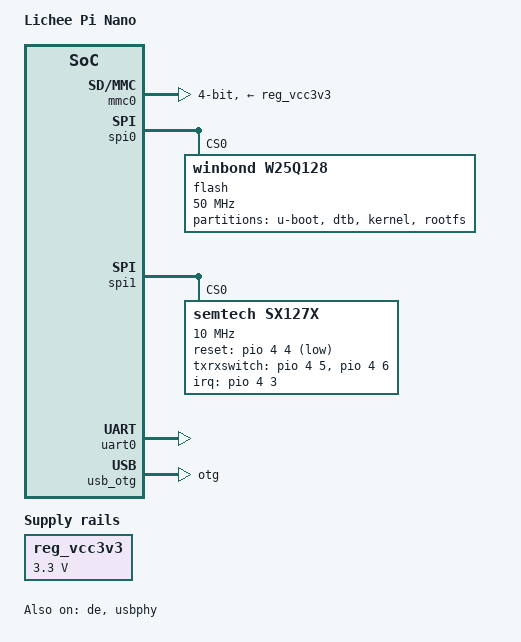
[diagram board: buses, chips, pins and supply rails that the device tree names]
// SPDX-License-Identifier: (GPL-2.0+ OR X11)
/*
 * Copyright 2018 Icenowy Zheng <icenowy@aosc.io>
 */

/dts-v1/;
#include "suniv-f1c100s.dtsi"

#include <dt-bindings/gpio/gpio.h>
#include <dt-bindings/interrupt-controller/irq.h>

/ {
	model = "Lichee Pi Nano";
	compatible = "licheepi,licheepi-nano", "allwinner,suniv-f1c100s",
		     "allwinner,suniv";

	aliases {
		serial0 = &uart0;
		spi0 = &spi0;
	};

	chosen {
		stdout-path = "serial0:115200n8";
	};

	/*
	panel: panel {
		compatible = "qiaodian,qd43003c0-40", "simple-panel";
		#address-cells = <1>;
		#size-cells = <0>;
		enable-gpios = <&pio 4 6 GPIO_ACTIVE_HIGH>;

		port@0 {
			reg = <0>;
			#address-cells = <1>;
			#size-cells = <0>;

			panel_input: endpoint@0 {
				reg = <0>;
				remote-endpoint = <&tcon0_out_lcd>;
			};
		};
	};
	*/

	reg_vcc3v3: vcc3v3 {
		compatible = "regulator-fixed";
		regulator-name = "vcc3v3";
		regulator-min-microvolt = <3300000>;
		regulator-max-microvolt = <3300000>;
	};
};

&de {
	status = "okay";
};

&mmc0 {
	vmmc-supply = <&reg_vcc3v3>;
	bus-width = <4>;
	broken-cd;
	status = "okay";
};

&otg_sram {
	status = "okay";
};

&spi0 {
	pinctrl-names = "default";
	pinctrl-0 = <&spi0_pins>;
	status = "okay";
	spi-max-frequency = <50000000>;

	flash: w25q128@0 {
		#address-cells = <1>;
		#size-cells = <1>;
		compatible = "winbond,w25q128", "jedec,spi-nor";
		reg = <0>;
		spi-max-frequency = <50000000>;
		partitions {
			compatible = "fixed-partitions";
			#address-cells = <1>;
			#size-cells = <1>;

			partition@0 {
				label = "u-boot";
				reg = <0x000000 0x100000>;
				read-only;
			};

			partition@100000 {
				label = "dtb";
				reg = <0x100000 0x10000>;
				read-only;
			};

			partition@110000 {
				label = "kernel";
				reg = <0x110000 0x400000>;
				read-only;
			};

			partition@510000 {
				label = "rootfs";
				reg = <0x510000 0xAF0000>;
			};
		};
	};
};

/*
 * PA0 -- SPI1_CS
 * PA1 -- SPI1_MOSI
 * PA2 -- SPI1_CLK
 * PA3 -- SPI1_MISO
 * PE3 -- Reset
 * PE4 -- Interrupt
*/
&spi1 {
	pinctrl-names = "default";
	pinctrl-0 = <&spi1_pins>;
	status = "okay";
	spi-max-frequency = <10000000>;

	sx127x@0 {
		#address-cells = <1>;
		#size-cells = <1>;

		compatible = "semtech,sx127x";
		reg = <0x0>;
		spi-max-frequency = <10000000>;

		reset-gpios = <&pio 4 4 GPIO_ACTIVE_LOW>;			/* PE3 */
		txrxswitch-gpios = <&pio 4 5 GPIO_ACTIVE_HIGH>,		/* PE5 */
			<&pio 4 6 GPIO_ACTIVE_HIGH>;					/* PE6 */

		interrupt-parent = <&pio>;
		interrupts = <4 3 IRQ_TYPE_EDGE_RISING>;			/* PE4 / EINT3 */
	};
};

/*
&tcon0 {
	pinctrl-names = "default";
	pinctrl-0 = <&lcd_rgb666_pins>;
	status = "okay";
};

&tcon0_out {
	tcon0_out_lcd: endpoint@0 {
		reg = <0>;
		remote-endpoint = <&panel_input>;
	};
};
*/

&uart0 {
	pinctrl-names = "default";
	pinctrl-0 = <&uart0_pins>;
	status = "okay";
};

&usb_otg {
	dr_mode = "otg";
	status = "okay";
};

&usbphy {
	usb0_id_det-gpio = <&pio 4 2 GPIO_ACTIVE_HIGH>; /* PE2 */
	status = "okay";
};
